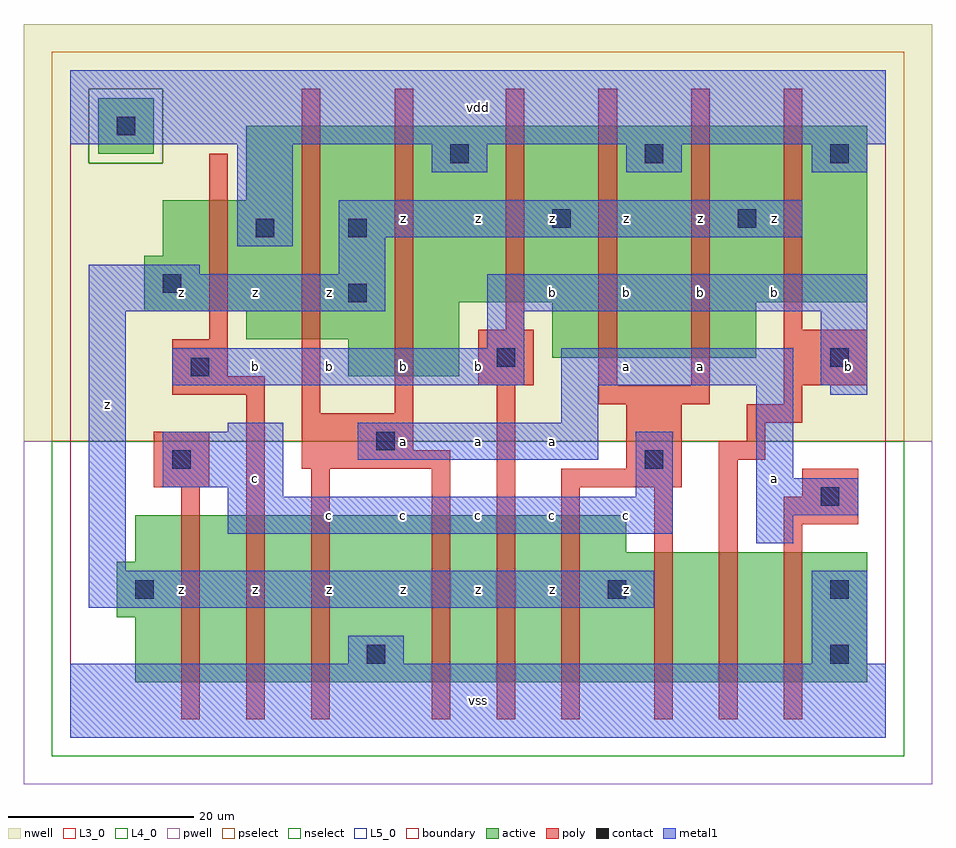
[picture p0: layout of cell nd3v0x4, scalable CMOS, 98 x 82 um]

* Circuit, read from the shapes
.subckt nd3v0x4 a b c vdd vss z
M1 n1 c z VSUBS nfet w=18u l=2u
M2 n2 b n1 VSUBS nfet w=18u l=2u
M3 vss a n2 VSUBS nfet w=18u l=2u
M4 n3 a vss VSUBS nfet w=18u l=2u
M5 n4 b n3 VSUBS nfet w=18u l=2u
M6 z c n4 VSUBS nfet w=18u l=2u
M7 n5 c z VSUBS nfet w=14u l=2u
M8 n6 b n5 VSUBS nfet w=14u l=2u
M9 vss a n6 VSUBS nfet w=14u l=2u
M10 vdd b z vdd pfet w=12u l=2u
M11 z a vdd vdd pfet w=23u l=2u
M12 vdd a z vdd pfet w=27u l=2u
M13 z b vdd vdd pfet w=19u l=2u m=2
M14 vdd c z vdd pfet w=25u l=2u m=2
.ends

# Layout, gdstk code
import gdstk
lib = gdstk.Library(unit=1e-6, precision=1e-09)
def R(c, l, rs):  # rectangles x0, y0, x1, y1
    for r in rs: c.add(gdstk.rectangle(r[:2], r[2:], *l))
L3_0 = (3, 0)
L4_0 = (4, 0)
L5_0 = (5, 0)
contact = (25, 0)
pwell = (41, 0)
nwell = (42, 0)
active = (43, 0)
pselect = (44, 0)
nselect = (45, 0)
poly = (46, 0)
metal1 = (49, 0)
boundary = (63, 0)

nd3v0x4 = lib.new_cell('nd3v0x4')
R(nd3v0x4, L3_0, [(7,6,86,13), (5,13,86,19), (7,19,86,20), (7,20,60,24)])
R(nd3v0x4, L4_0, [(30,39,42,43), (52,41,74,47), (19,43,42,46), (8,46,42,47), (8,47,86,52), (10,52,86,58), (19,58,86,66)])
R(nd3v0x4, L5_0, [(3,63,9,69)])
R(nd3v0x4, contact, [(32,8,34,10), (82,8,84,10), (7,15,9,17), (58,15,60,17), (82,15,84,17), (81,25,83,27), (11,29,13,31), (62,29,64,31), (33,31,35,33), (13,39,15,41), (46,40,48,42), (82,40,84,42), (30,47,32,49), (10,48,12,50), (20,54,22,56), (30,54,32,56), (52,55,54,57), (72,55,74,57), (41,62,43,64), (62,62,64,64), (82,62,84,64), (5,65,7,67)])
R(nd3v0x4, pwell, [(-5,-5,93,32)])
R(nd3v0x4, nwell, [(-5,32,93,77)])
R(nd3v0x4, active, [(7,6,86,13), (5,13,86,19), (7,19,86,20), (7,20,60,24), (30,39,42,43), (52,41,74,47), (19,43,42,46), (8,46,42,47), (8,47,86,52), (10,52,86,58), (19,58,86,66), (3,63,9,69)])
R(nd3v0x4, pselect, [(-2,32,90,62), (-2,62,2,70), (10,62,90,70), (-2,70,90,74)])
R(nd3v0x4, nselect, [(-2,-2,90,32), (2,62,10,70)])
R(nd3v0x4, poly, [(12,2,14,27), (19,2,21,37), (26,2,28,29), (39,2,41,29), (46,2,48,38), (53,2,55,27), (63,2,65,27), (70,2,72,30), (77,2,79,23), (77,23,85,26), (79,26,85,29), (9,27,15,33), (53,27,66,29), (25,29,41,31), (60,29,66,36), (70,30,75,32), (25,31,37,35), (73,32,75,34), (73,34,79,36), (25,35,27,70), (35,35,37,70), (57,36,69,38), (77,36,79,38), (11,37,21,39), (44,38,50,44), (57,38,59,70), (67,38,69,70), (77,38,86,44), (11,39,17,43), (15,43,17,63), (47,44,49,70), (77,44,79,70)])
R(nd3v0x4, metal1, [(0,0,88,8), (30,8,36,11), (80,8,86,18), (2,14,63,18), (2,18,6,46), (74,21,78,24), (17,22,65,26), (74,24,85,28), (17,26,23,27), (61,26,65,33), (10,27,23,33), (74,28,78,38), (31,30,57,34), (17,33,23,34), (53,34,57,38), (82,37,86,38), (11,38,49,42), (53,38,78,42), (81,38,86,46), (45,42,49,46), (2,46,34,50), (45,46,86,50), (2,50,14,51), (29,50,34,54), (18,53,24,64), (29,54,79,58), (39,61,45,64), (60,61,66,64), (80,61,86,64), (0,64,88,72)])
R(nd3v0x4, boundary, [(0,0,88,72)])
nd3v0x4.add(gdstk.Label('z', (12,16), layer=49, texttype=0))
nd3v0x4.add(gdstk.Label('z', (4,36), layer=49, texttype=0))
nd3v0x4.add(gdstk.Label('z', (12,48), layer=49, texttype=0))
nd3v0x4.add(gdstk.Label('z', (20,16), layer=49, texttype=0))
nd3v0x4.add(gdstk.Label('z', (28,16), layer=49, texttype=0))
nd3v0x4.add(gdstk.Label('c', (28,24), layer=49, texttype=0))
nd3v0x4.add(gdstk.Label('c', (20,28), layer=49, texttype=0))
nd3v0x4.add(gdstk.Label('b', (20,40), layer=49, texttype=0))
nd3v0x4.add(gdstk.Label('b', (28,40), layer=49, texttype=0))
nd3v0x4.add(gdstk.Label('z', (20,48), layer=49, texttype=0))
nd3v0x4.add(gdstk.Label('z', (28,48), layer=49, texttype=0))
nd3v0x4.add(gdstk.Label('vss', (44,4), layer=49, texttype=0))
nd3v0x4.add(gdstk.Label('z', (44,16), layer=49, texttype=0))
nd3v0x4.add(gdstk.Label('z', (36,16), layer=49, texttype=0))
nd3v0x4.add(gdstk.Label('c', (36,24), layer=49, texttype=0))
nd3v0x4.add(gdstk.Label('c', (44,24), layer=49, texttype=0))
nd3v0x4.add(gdstk.Label('a', (44,32), layer=49, texttype=0))
nd3v0x4.add(gdstk.Label('a', (36,32), layer=49, texttype=0))
nd3v0x4.add(gdstk.Label('b', (36,40), layer=49, texttype=0))
nd3v0x4.add(gdstk.Label('b', (44,40), layer=49, texttype=0))
nd3v0x4.add(gdstk.Label('z', (44,56), layer=49, texttype=0))
nd3v0x4.add(gdstk.Label('z', (36,56), layer=49, texttype=0))
nd3v0x4.add(gdstk.Label('vdd', (44,68), layer=49, texttype=0))
nd3v0x4.add(gdstk.Label('z', (60,16), layer=49, texttype=0))
nd3v0x4.add(gdstk.Label('z', (52,16), layer=49, texttype=0))
nd3v0x4.add(gdstk.Label('c', (52,24), layer=49, texttype=0))
nd3v0x4.add(gdstk.Label('c', (60,24), layer=49, texttype=0))
nd3v0x4.add(gdstk.Label('a', (52,32), layer=49, texttype=0))
nd3v0x4.add(gdstk.Label('a', (60,40), layer=49, texttype=0))
nd3v0x4.add(gdstk.Label('a', (68,40), layer=49, texttype=0))
nd3v0x4.add(gdstk.Label('b', (52,48), layer=49, texttype=0))
nd3v0x4.add(gdstk.Label('b', (60,48), layer=49, texttype=0))
nd3v0x4.add(gdstk.Label('b', (68,48), layer=49, texttype=0))
nd3v0x4.add(gdstk.Label('z', (60,56), layer=49, texttype=0))
nd3v0x4.add(gdstk.Label('z', (68,56), layer=49, texttype=0))
nd3v0x4.add(gdstk.Label('z', (52,56), layer=49, texttype=0))
nd3v0x4.add(gdstk.Label('a', (76,28), layer=49, texttype=0))
nd3v0x4.add(gdstk.Label('b', (84,40), layer=49, texttype=0))
nd3v0x4.add(gdstk.Label('b', (76,48), layer=49, texttype=0))
nd3v0x4.add(gdstk.Label('z', (76,56), layer=49, texttype=0))

lib.write_gds('nd3v0x4.gds')
